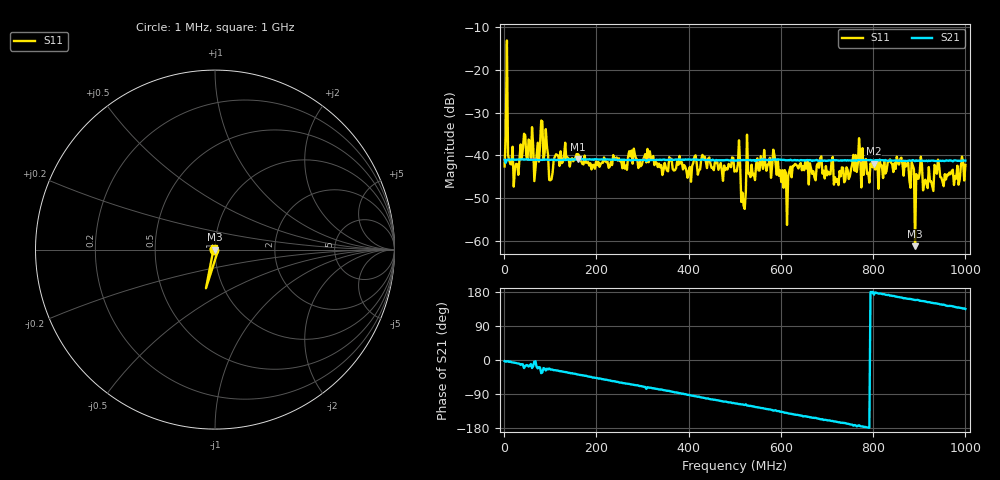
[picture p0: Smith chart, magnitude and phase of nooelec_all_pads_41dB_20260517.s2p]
# HZ S RI R 50
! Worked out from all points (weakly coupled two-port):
!   404 points, 1 MHz to 1 GHz, reference 50 ohm
!   highest |S21| = -40.87 dB at 159.7 MHz (marker M1); lowest = -42.0 dB at 801.7 MHz (marker M2)
!   lowest |S11| = -61.3 dB at 890.9 MHz (marker M3), VSWR 1.00, Z = 49.9 - j0.00673 ohm
!   |S11| at or under -10 dB: start of sweep to end of sweep
!   S12 and S22 are empty: the file has one direction only
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1000000  -0.00739 0.000455  0.00885 -0.000462  0 0  0 0
8436724  -0.00957 -0.00319  0.0089 -0.00051  0 0  0 0
1.587345e7  -0.00756 0.00202  0.00888 -0.000922  0 0  0 0
2.578908e7  -0.00789 0.000779  0.00878 -0.0012  0 0  0 0
4.066253e7  -0.012 0.000156  0.00879 -0.00181  0 0  0 0
7.040942e7  -0.00951 -0.00173  0.00844 -0.00278  0 0  0 0
8.528287e7  -0.00791 0.00395  0.00829 -0.00325  0 0  0 0
1.026352e8  -0.00244 0.00463  0.00803 -0.00376  0 0  0 0
1.596501e8  -0.0104 -0.000279  0.00712 -0.00559  0 0  0 0
1.695657e8  -0.00789 0.000951  0.00686 -0.00588  0 0  0 0
3.356526e8  -0.00796 0.000607  0.00188 -0.00862  0 0  0 0
5.017394e8  -0.00653 0.00076  -0.00365 -0.00791  0 0  0 0
5.190918e8  -0.000177 0.00258  -0.00412 -0.00779  0 0  0 0
5.314863e8  -0.00611 6.41e-05  -0.00455 -0.0075  0 0  0 0
5.885012e8  -0.00791 0.00183  -0.00604 -0.00661  0 0  0 0
6.108114e8  -0.00608 -0.00146  -0.0066 -0.00571  0 0  0 0
6.306426e8  -0.00789 0.000589  -0.00713 -0.00517  0 0  0 0
6.678263e8  -0.00557 -0.0024  -0.00761 -0.00397  0 0  0 0
8.016873e8  -0.00711 0.00324  -0.00789 0.00107  0 0  0 0
8.339131e8  -0.00731 0.00433  -0.00851 0.00121  0 0  0 0
8.90928e8  -0.000859 -6.74e-05  -0.00792 0.00318  0 0  0 0
9.999999e8  -0.00454 0.00623  -0.00608 0.00617  0 0  0 0
